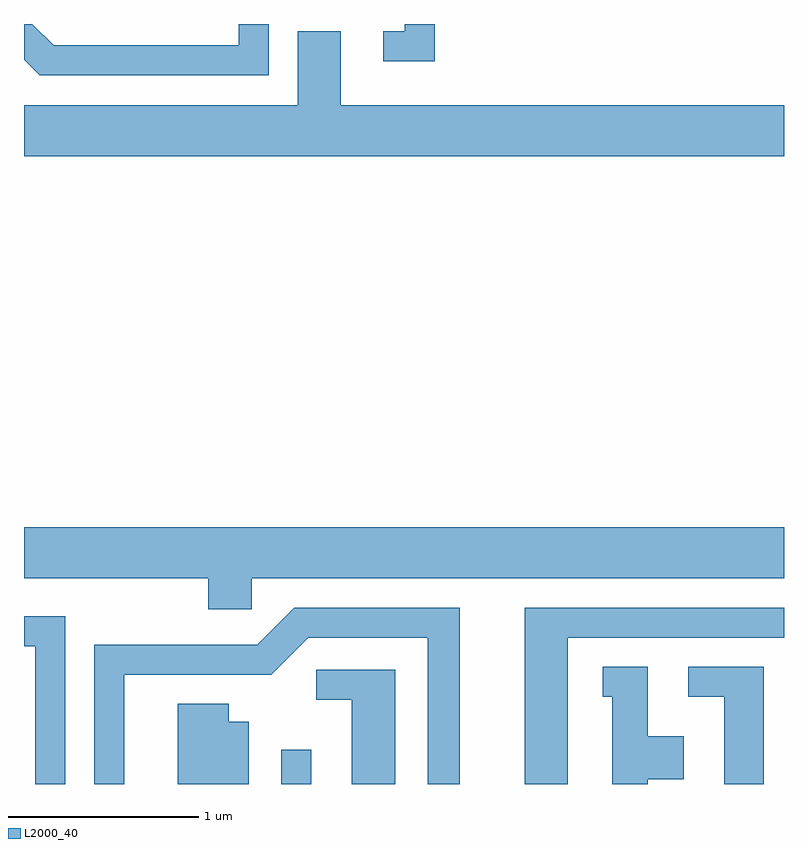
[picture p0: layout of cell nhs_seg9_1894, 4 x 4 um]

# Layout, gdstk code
import gdstk
lib = gdstk.Library(unit=1e-6, precision=1e-09)
def R(c, l, rs):  # rectangles x0, y0, x1, y1
    for r in rs: c.add(gdstk.rectangle(r[:2], r[2:], *l))
def P(c, l, *ps):  # polygons
    for p in ps: c.add(gdstk.Polygon(p, *l))
L2000_40 = (2000, 40)

nhs_seg9_1894 = lib.new_cell('nhs_seg9_1894')
R(nhs_seg9_1894, L2000_40, [(240.966,2068.432,241.124,2068.613)])
P(nhs_seg9_1894, L2000_40, [(240.899,2072.432),(240.741,2072.432),(240.741,2072.319),(239.767,2072.319),(239.654,2072.432),(239.611,2072.432),(239.611,2072.244),(239.694,2072.161),(240.899,2072.161)],
  [(241.774,2072.432),(241.616,2072.432),(241.616,2072.394),(241.503,2072.394),(241.503,2072.236),(241.774,2072.236)],
  [(243.611,2072.004),(241.279,2072.004),(241.279,2072.394),(241.051,2072.394),(241.051,2072.004),(239.611,2072.004),(239.611,2071.736),(243.611,2071.736)],
  [(240.809,2069.516),(243.611,2069.516),(243.611,2069.784),(239.611,2069.784),(239.611,2069.516),(240.581,2069.516),(240.581,2069.351),(240.809,2069.351)],
  [(242.474,2069.201),(243.611,2069.201),(243.611,2069.359),(242.246,2069.359),(242.246,2068.432),(242.474,2068.432)],
  [(240.139,2069.006),(240.912,2069.006),(241.107,2069.201),(241.736,2069.201),(241.736,2068.432),(241.904,2068.432),(241.904,2069.359),(241.034,2069.359),(240.839,2069.164),(239.981,2069.164),(239.981,2068.432),(240.139,2068.432)],
  [(239.829,2069.314),(239.611,2069.314),(239.611,2069.156),(239.671,2069.156),(239.671,2068.432),(239.829,2068.432)],
  [(243.504,2069.049),(243.108,2069.049),(243.108,2068.891),(243.296,2068.891),(243.296,2068.432),(243.504,2068.432)],
  [(242.894,2068.456),(243.084,2068.456),(243.084,2068.684),(242.894,2068.684),(242.894,2069.049),(242.658,2069.049),(242.658,2068.891),(242.706,2068.891),(242.706,2068.432),(242.894,2068.432)],
  [(241.564,2069.034),(241.148,2069.034),(241.148,2068.876),(241.336,2068.876),(241.336,2068.432),(241.564,2068.432)],
  [(240.794,2068.759),(240.689,2068.759),(240.689,2068.854),(240.421,2068.854),(240.421,2068.432),(240.794,2068.432)])

lib.write_gds('nhs_seg9_1894.gds')
